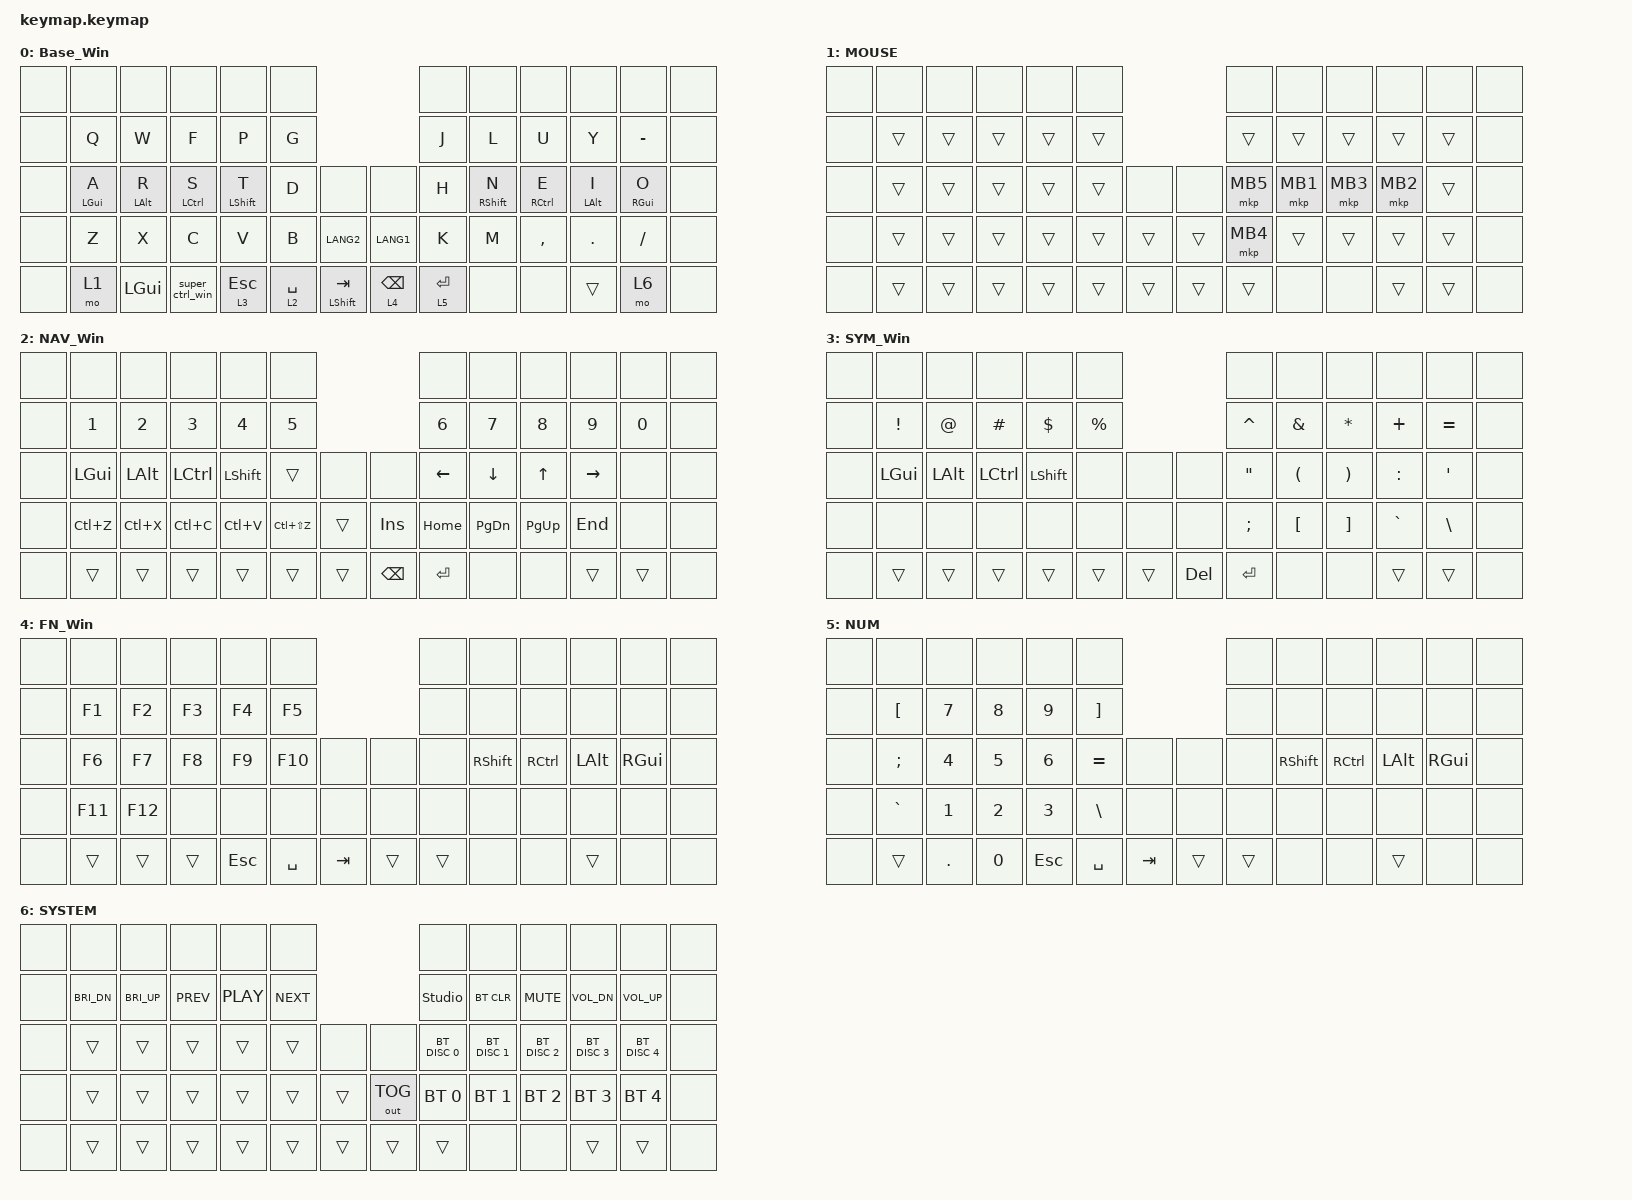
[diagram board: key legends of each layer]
#include <behaviors.dtsi>
#include <dt-bindings/zmk/bt.h>
#include <dt-bindings/zmk/keys.h>
#include <dt-bindings/zmk/outputs.h>
#include <dt-bindings/zmk/pointing.h>
#include <input/processors/runtime-input-processor.dtsi>
#include <behaviors/runtime-input-processor.dtsi>

&lt { tapping-term-ms = <180>; };

&mt { tapping-term-ms = <180>; };

/ {
    behaviors {
        hml: home_row_mod_left {
            compatible = "zmk,behavior-hold-tap";
            #binding-cells = <2>;
            flavor = "balanced";
            require-prior-idle-ms = <150>;
            tapping-term-ms = <280>;
            quick-tap-ms = <175>;
            bindings = <&kp>, <&kp>;

            hold-trigger-on-release;
            hold-trigger-key-positions = <6 7 8 9 10 11 18 19 20 21 22 23 31 32 33 34 35 36 37 45 46 47 48 49 50 51 59 60 61 62 63 64 65>;
        };

        hmr: home_row_mod_right {
            compatible = "zmk,behavior-hold-tap";
            #binding-cells = <2>;
            flavor = "balanced";
            require-prior-idle-ms = <150>;
            tapping-term-ms = <280>;
            quick-tap-ms = <175>;
            bindings = <&kp>, <&kp>;

            hold-trigger-on-release;
            hold-trigger-key-positions = <0 1 2 3 4 5 12 13 14 15 16 17 24 25 26 27 28 29 30 38 39 40 41 42 43 44 52 53 54 55 56 57 58>;
        };

        super_ctrl_win: super_ctrl_win {
            compatible = "zmk,behavior-tap-dance";
            label = "SUPER_CTRL_WIN";
            #binding-cells = <0>;
            bindings =
                <&mt LCTRL LA(SPACE)>,
                <&kp LA(LC(SPACE))>,
                <&kp LA(LG(LC(SPACE)))>;
        };
    };

    keymap {
        compatible = "zmk,keymap";

        // BASE Layer

        Base_Win {
            bindings = <
&none   &none        &none        &none            &none          &none                                   &none        &none         &none         &none        &none        &none
&none   &kp Q        &kp W        &kp F            &kp P          &kp G                                   &kp J        &kp L         &kp U         &kp Y        &kp MINUS    &none
&none   &hml LGUI A  &hml LALT R  &hml LCTRL S     &hml LSHIFT T  &kp D        &none           &none      &kp H        &hmr RSHFT N  &hmr RCTRL E  &hmr LALT I  &hmr RGUI O  &none
&none   &kp Z        &kp X        &kp C            &kp V          &kp B        &kp LANG2       &kp LANG1  &kp K        &kp M         &kp COMMA     &kp DOT      &kp SLASH    &none
&none   &mo 1        &kp LGUI     &super_ctrl_win  &lt 3 ESC      &lt 2 SPACE  &mt LSHIFT TAB  &lt 4 BSPC  &lt 5 ENTER  &none         &none         &trans       &mo 6        &none
            >;
        };

        MOUSE {
            bindings = <
&none  &none   &none   &none   &none   &none                   &none     &none     &none     &none     &none   &none
&none  &trans  &trans  &trans  &trans  &trans                  &trans    &trans    &trans    &trans    &trans  &none
&none  &trans  &trans  &trans  &trans  &trans  &none   &none   &mkp MB5  &mkp MB1  &mkp MB3  &mkp MB2  &trans  &none
&none  &trans  &trans  &trans  &trans  &trans  &trans  &trans  &mkp MB4  &trans    &trans    &trans    &trans  &none
&none  &trans  &trans  &trans  &trans  &trans  &trans  &trans  &trans    &none     &none     &trans    &trans  &none
            >;
        };

        NAV_Win {
            bindings = <
&none  &none      &none      &none      &none      &none                           &none      &none      &none      &none      &none   &none
&none  &kp N1     &kp N2     &kp N3     &kp N4     &kp N5                          &kp N6     &kp N7     &kp N8     &kp N9     &kp N0  &none
&none  &kp LGUI   &kp LALT   &kp LCTRL  &kp LSHFT  &trans         &none   &none    &kp LEFT   &kp DOWN   &kp UP     &kp RIGHT  &none   &none
&none  &kp LC(Z)  &kp LC(X)  &kp LC(C)  &kp LC(V)  &kp LC(LS(Z))  &trans  &kp INS  &kp HOME   &kp PG_DN  &kp PG_UP  &kp END    &none   &none
&none  &trans     &trans     &trans     &trans     &trans         &trans  &kp BSPC &kp ENTER  &none      &none      &trans     &trans  &none
            >;
        };

        SYM_Win {
            bindings = <
&none  &none     &none     &none      &none       &none                    &none      &none      &none      &none      &none      &none
&none  &kp EXCL  &kp AT    &kp HASH   &kp DLLR    &kp PRCNT                &kp CARET  &kp AMPS   &kp ASTRK  &kp PLUS   &kp EQUAL  &none
&none  &kp LGUI  &kp LALT  &kp LCTRL  &kp LSHIFT  &none     &none  &none   &kp DQT    &kp LPAR   &kp RPAR   &kp COLON  &kp SQT    &none
&none  &none     &none     &none      &none       &none     &none  &none   &kp SEMI   &kp LBKT   &kp RBKT   &kp GRAVE  &kp BSLH   &none
&none  &trans    &trans    &trans     &trans      &trans    &trans &kp DEL &kp ENTER  &none      &none      &trans     &trans     &none
            >;
        };

        FN_Win {
            bindings = <
&none  &none    &none    &none   &none   &none                        &none   &none      &none      &none     &none     &none
&none  &kp F1   &kp F2   &kp F3  &kp F4  &kp F5                       &none   &none      &none      &none     &none     &none
&none  &kp F6   &kp F7   &kp F8  &kp F9  &kp F10  &none   &none       &none   &kp RSHFT  &kp RCTRL  &kp LALT  &kp RGUI  &none
&none  &kp F11  &kp F12  &none   &none   &none    &none   &none       &none   &none      &none      &none     &none     &none
&none  &trans   &trans   &trans  &kp ESC &kp SPACE &kp TAB &trans      &trans  &none      &none      &trans    &none     &none
            >;
        };

        NUM {
            bindings = <
&none  &none       &none    &none    &none    &none                       &none   &none      &none      &none     &none     &none
&none  &kp LBKT    &kp N7   &kp N8   &kp N9   &kp RBKT                    &none   &none      &none      &none     &none     &none
&none  &kp SEMI    &kp N4   &kp N5   &kp N6   &kp EQUAL  &none   &none    &none   &kp RSHFT  &kp RCTRL  &kp LALT  &kp RGUI  &none
&none  &kp GRAVE   &kp N1   &kp N2   &kp N3   &kp BSLH   &none   &none    &none   &none      &none      &none     &none     &none
&none  &trans      &kp DOT  &kp N0   &kp ESC  &kp SPACE  &kp TAB &trans   &trans  &none      &none      &trans    &none     &none
            >;
        };

        SYSTEM {
            bindings = <
&none  &none         &none         &none       &none       &none                         &none           &none          &none          &none          &none            &none
&none  &kp C_BRI_DN  &kp C_BRI_UP  &kp C_PREV  &kp C_PLAY  &kp C_NEXT                    &studio_unlock  &bt BT_CLR     &kp C_MUTE     &kp C_VOL_DN   &kp C_VOLUME_UP  &none
&none  &trans        &trans        &trans      &trans      &trans      &none   &none      &bt BT_DISC 0   &bt BT_DISC 1  &bt BT_DISC 2  &bt BT_DISC 3  &bt BT_DISC 4    &none
&none  &trans        &trans        &trans      &trans      &trans      &trans  &out OUT_TOG  &bt BT_SEL 0   &bt BT_SEL 1   &bt BT_SEL 2   &bt BT_SEL 3   &bt BT_SEL 4   &none
&none  &trans        &trans        &trans      &trans      &trans      &trans  &trans        &trans         &none          &none          &trans         &trans           &none
            >;
        };
    };

};

&pointing_listener {
    input-processors = <
        &scroll_runtime_input_processor
        &mouse_runtime_input_processor
    >;
};

&mouse_runtime_input_processor {
    temp-layer-enabled;
    temp-layer = <1>;
    temp-layer-deactivation-delay-ms = <750>;
    x-invert;
    y-invert;
};

&scroll_runtime_input_processor {
    x-codes = <INPUT_REL_X>;
    y-codes = <INPUT_REL_Y>;
    active-layers = <BIT(2)>;
    xy-to-scroll-enabled;
    x-invert;
    y-invert;
};
